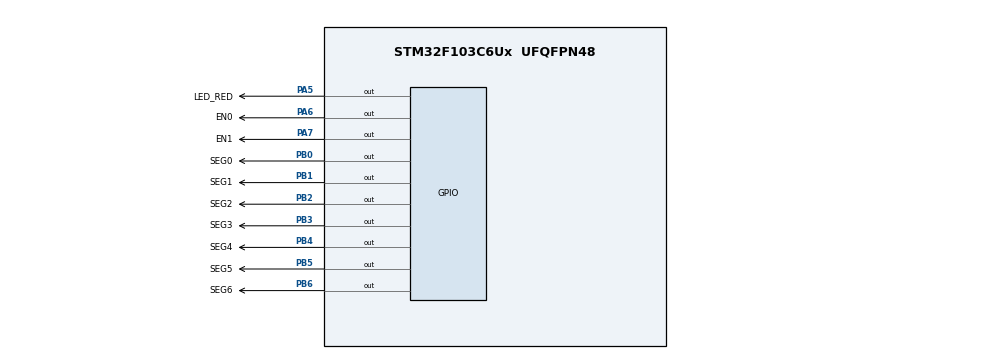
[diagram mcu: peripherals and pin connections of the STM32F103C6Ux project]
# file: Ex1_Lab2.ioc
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Mcu.Family=STM32F1
Mcu.Name=STM32F103C6Ux
Mcu.Package=UFQFPN48
NVIC.PriorityGroup=NVIC_PRIORITYGROUP_4
NVIC.TIM2_IRQn=true\:0\:0\:false\:false\:true\:true\:true\:true
PA5.GPIO_Label=LED_RED
PA5.Signal=GPIO_Output
PA6.GPIO_Label=EN0
PA6.Signal=GPIO_Output
PA7.GPIO_Label=EN1
PA7.Signal=GPIO_Output
PB0.GPIO_Label=SEG0
PB0.Signal=GPIO_Output
PB1.GPIO_Label=SEG1
PB1.Signal=GPIO_Output
PB2.GPIO_Label=SEG2
PB2.Signal=GPIO_Output
PB3.GPIO_Label=SEG3
PB3.Signal=GPIO_Output
PB4.GPIO_Label=SEG4
PB4.Signal=GPIO_Output
PB5.GPIO_Label=SEG5
PB5.Signal=GPIO_Output
PB6.GPIO_Label=SEG6
PB6.Signal=GPIO_Output
ProjectManager.HeapSize=0x200
ProjectManager.StackSize=0x400
ProjectManager.TargetToolchain=STM32CubeIDE
RCC.APB1Freq_Value=8000000
RCC.APB2Freq_Value=8000000
TIM2.Period=9
TIM2.Prescaler=7999
VP_TIM2_VS_ClockSourceINT.Mode=Internal
board=custom

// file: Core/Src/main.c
/* USER CODE BEGIN Header */
/**
  ******************************************************************************
  * @file           : main.c
  * @brief          : Main program body
  ******************************************************************************
  * @attention
  *
  * Copyright (c) 2022 STMicroelectronics.
  * All rights reserved.
  *
  * This software is licensed under terms that can be found in the LICENSE file
  * in the root directory of this software component.
  * If no LICENSE file comes with this software, it is provided AS-IS.
  *
  ******************************************************************************
  */
/* USER CODE END Header */
#include "main.h"

TIM_HandleTypeDef htim2;

void SystemClock_Config(void);
static void MX_GPIO_Init(void);
static void MX_TIM2_Init(void);
/* USER CODE BEGIN PFP */
void display7SEG(int num){
	if(num==0){
		HAL_GPIO_WritePin(SEG0_GPIO_Port,SEG0_Pin,0);
		HAL_GPIO_WritePin(SEG1_GPIO_Port,SEG1_Pin,0);
		HAL_GPIO_WritePin(SEG2_GPIO_Port,SEG2_Pin,0);
		HAL_GPIO_WritePin(SEG3_GPIO_Port,SEG3_Pin,0);
		HAL_GPIO_WritePin(SEG4_GPIO_Port,SEG4_Pin,0);
		HAL_GPIO_WritePin(SEG5_GPIO_Port,SEG5_Pin,0);
		HAL_GPIO_WritePin(SEG6_GPIO_Port,SEG6_Pin,1);
	}
	if(num==1){
		HAL_GPIO_WritePin(SEG0_GPIO_Port,SEG0_Pin,1);
		HAL_GPIO_WritePin(SEG1_GPIO_Port,SEG1_Pin,0);
		HAL_GPIO_WritePin(SEG2_GPIO_Port,SEG2_Pin,0);
		HAL_GPIO_WritePin(SEG3_GPIO_Port,SEG3_Pin,1);
		HAL_GPIO_WritePin(SEG4_GPIO_Port,SEG4_Pin,1);
		HAL_GPIO_WritePin(SEG5_GPIO_Port,SEG5_Pin,1);
		HAL_GPIO_WritePin(SEG6_GPIO_Port,SEG6_Pin,1);
	}
	if(num==2){
		HAL_GPIO_WritePin(SEG0_GPIO_Port,SEG0_Pin,0);
		HAL_GPIO_WritePin(SEG1_GPIO_Port,SEG1_Pin,0);
		HAL_GPIO_WritePin(SEG2_GPIO_Port,SEG2_Pin,1);
		HAL_GPIO_WritePin(SEG3_GPIO_Port,SEG3_Pin,0);
		HAL_GPIO_WritePin(SEG4_GPIO_Port,SEG4_Pin,0);
		HAL_GPIO_WritePin(SEG5_GPIO_Port,SEG5_Pin,1);
		HAL_GPIO_WritePin(SEG6_GPIO_Port,SEG6_Pin,0);
	}
	if(num==3){
		HAL_GPIO_WritePin(SEG0_GPIO_Port,SEG0_Pin,0);
		HAL_GPIO_WritePin(SEG1_GPIO_Port,SEG1_Pin,0);
		HAL_GPIO_WritePin(SEG2_GPIO_Port,SEG2_Pin,0);
		HAL_GPIO_WritePin(SEG3_GPIO_Port,SEG3_Pin,0);
		HAL_GPIO_WritePin(SEG4_GPIO_Port,SEG4_Pin,1);
		HAL_GPIO_WritePin(SEG5_GPIO_Port,SEG5_Pin,1);
		HAL_GPIO_WritePin(SEG6_GPIO_Port,SEG6_Pin,0);
	}
	if(num==4){
		HAL_GPIO_WritePin(SEG0_GPIO_Port,SEG0_Pin,1);
		HAL_GPIO_WritePin(SEG1_GPIO_Port,SEG1_Pin,0);
		HAL_GPIO_WritePin(SEG2_GPIO_Port,SEG2_Pin,0);
		HAL_GPIO_WritePin(SEG3_GPIO_Port,SEG3_Pin,1);
		HAL_GPIO_WritePin(SEG4_GPIO_Port,SEG4_Pin,1);
		HAL_GPIO_WritePin(SEG5_GPIO_Port,SEG5_Pin,0);
		HAL_GPIO_WritePin(SEG6_GPIO_Port,SEG6_Pin,0);
	}
	if(num==5){
		HAL_GPIO_WritePin(SEG0_GPIO_Port,SEG0_Pin,0);
		HAL_GPIO_WritePin(SEG1_GPIO_Port,SEG1_Pin,1);
		HAL_GPIO_WritePin(SEG2_GPIO_Port,SEG2_Pin,0);
		HAL_GPIO_WritePin(SEG3_GPIO_Port,SEG3_Pin,0);
		HAL_GPIO_WritePin(SEG4_GPIO_Port,SEG4_Pin,1);
		HAL_GPIO_WritePin(SEG5_GPIO_Port,SEG5_Pin,0);
		HAL_GPIO_WritePin(SEG6_GPIO_Port,SEG6_Pin,0);
	}
	if(num==6){
		HAL_GPIO_WritePin(SEG0_GPIO_Port,SEG0_Pin,0);
		HAL_GPIO_WritePin(SEG1_GPIO_Port,SEG1_Pin,1);
		HAL_GPIO_WritePin(SEG2_GPIO_Port,SEG2_Pin,0);
		HAL_GPIO_WritePin(SEG3_GPIO_Port,SEG3_Pin,0);
		HAL_GPIO_WritePin(SEG4_GPIO_Port,SEG4_Pin,0);
		HAL_GPIO_WritePin(SEG5_GPIO_Port,SEG5_Pin,0);
		HAL_GPIO_WritePin(SEG6_GPIO_Port,SEG6_Pin,0);
	}
	if(num==7){
		HAL_GPIO_WritePin(SEG0_GPIO_Port,SEG0_Pin,0);
		HAL_GPIO_WritePin(SEG1_GPIO_Port,SEG1_Pin,0);
		HAL_GPIO_WritePin(SEG2_GPIO_Port,SEG2_Pin,0);
		HAL_GPIO_WritePin(SEG3_GPIO_Port,SEG3_Pin,1);
		HAL_GPIO_WritePin(SEG4_GPIO_Port,SEG4_Pin,1);
		HAL_GPIO_WritePin(SEG5_GPIO_Port,SEG5_Pin,1);
		HAL_GPIO_WritePin(SEG6_GPIO_Port,SEG6_Pin,1);
	}
	if(num==8){
		HAL_GPIO_WritePin(SEG0_GPIO_Port,SEG0_Pin,0);
		HAL_GPIO_WritePin(SEG1_GPIO_Port,SEG1_Pin,0);
		HAL_GPIO_WritePin(SEG2_GPIO_Port,SEG2_Pin,0);
		HAL_GPIO_WritePin(SEG3_GPIO_Port,SEG3_Pin,0);
		HAL_GPIO_WritePin(SEG4_GPIO_Port,SEG4_Pin,0);
		HAL_GPIO_WritePin(SEG5_GPIO_Port,SEG5_Pin,0);
		HAL_GPIO_WritePin(SEG6_GPIO_Port,SEG6_Pin,0);
	}
	if(num==9){
		HAL_GPIO_WritePin(SEG0_GPIO_Port,SEG0_Pin,0);
		HAL_GPIO_WritePin(SEG1_GPIO_Port,SEG1_Pin,0);
		HAL_GPIO_WritePin(SEG2_GPIO_Port,SEG2_Pin,0);
		HAL_GPIO_WritePin(SEG3_GPIO_Port,SEG3_Pin,0);
		HAL_GPIO_WritePin(SEG4_GPIO_Port,SEG4_Pin,1);
		HAL_GPIO_WritePin(SEG5_GPIO_Port,SEG5_Pin,0);
		HAL_GPIO_WritePin(SEG6_GPIO_Port,SEG6_Pin,0);
	}
}
/* USER CODE END PFP */

int main(void)
{

  /* MCU Configuration--------------------------------------------------------*/

  /* Reset of all peripherals, Initializes the Flash interface and the Systick. */
  HAL_Init();

  /* Configure the system clock */
  SystemClock_Config();

  /* Initialize all configured peripherals */
  MX_GPIO_Init();
  MX_TIM2_Init();
  /* USER CODE BEGIN 2 */

  // DISABLE ALL LED
  HAL_GPIO_WritePin(EN0_GPIO_Port, EN0_Pin, 1);
  HAL_GPIO_WritePin(EN1_GPIO_Port, EN1_Pin, 1);

  HAL_TIM_Base_Start_IT(&htim2);
  /* USER CODE END 2 */

  /* Infinite loop */
  while (1)
  {

  }
}

void SystemClock_Config(void)
{
  RCC_OscInitTypeDef RCC_OscInitStruct = {0};
  RCC_ClkInitTypeDef RCC_ClkInitStruct = {0};

  /** Initializes the RCC Oscillators according to the specified parameters
  * in the RCC_OscInitTypeDef structure.
  */
  RCC_OscInitStruct.OscillatorType = RCC_OSCILLATORTYPE_HSI;
  RCC_OscInitStruct.HSIState = RCC_HSI_ON;
  RCC_OscInitStruct.HSICalibrationValue = RCC_HSICALIBRATION_DEFAULT;
  RCC_OscInitStruct.PLL.PLLState = RCC_PLL_NONE;
  if (HAL_RCC_OscConfig(&RCC_OscInitStruct) != HAL_OK)
  {
    Error_Handler();
  }

  /** Initializes the CPU, AHB and APB buses clocks
  */
  RCC_ClkInitStruct.ClockType = RCC_CLOCKTYPE_HCLK|RCC_CLOCKTYPE_SYSCLK
                              |RCC_CLOCKTYPE_PCLK1|RCC_CLOCKTYPE_PCLK2;
  RCC_ClkInitStruct.SYSCLKSource = RCC_SYSCLKSOURCE_HSI;
  RCC_ClkInitStruct.AHBCLKDivider = RCC_SYSCLK_DIV1;
  RCC_ClkInitStruct.APB1CLKDivider = RCC_HCLK_DIV1;
  RCC_ClkInitStruct.APB2CLKDivider = RCC_HCLK_DIV1;

  if (HAL_RCC_ClockConfig(&RCC_ClkInitStruct, FLASH_LATENCY_0) != HAL_OK)
  {
    Error_Handler();
  }
}

static void MX_TIM2_Init(void)
{

  TIM_ClockConfigTypeDef sClockSourceConfig = {0};
  TIM_MasterConfigTypeDef sMasterConfig = {0};

  htim2.Instance = TIM2;
  htim2.Init.Prescaler = 7999;
  htim2.Init.CounterMode = TIM_COUNTERMODE_UP;
  htim2.Init.Period = 9;
  htim2.Init.ClockDivision = TIM_CLOCKDIVISION_DIV1;
  htim2.Init.AutoReloadPreload = TIM_AUTORELOAD_PRELOAD_DISABLE;
  if (HAL_TIM_Base_Init(&htim2) != HAL_OK)
  {
    Error_Handler();
  }
  sClockSourceConfig.ClockSource = TIM_CLOCKSOURCE_INTERNAL;
  if (HAL_TIM_ConfigClockSource(&htim2, &sClockSourceConfig) != HAL_OK)
  {
    Error_Handler();
  }
  sMasterConfig.MasterOutputTrigger = TIM_TRGO_RESET;
  sMasterConfig.MasterSlaveMode = TIM_MASTERSLAVEMODE_DISABLE;
  if (HAL_TIMEx_MasterConfigSynchronization(&htim2, &sMasterConfig) != HAL_OK)
  {
    Error_Handler();
  }

}

static void MX_GPIO_Init(void)
{
  GPIO_InitTypeDef GPIO_InitStruct = {0};

  /* GPIO Ports Clock Enable */
  __HAL_RCC_GPIOA_CLK_ENABLE();
  __HAL_RCC_GPIOB_CLK_ENABLE();

  /*Configure GPIO pin Output Level */
  HAL_GPIO_WritePin(GPIOA, LED_RED_Pin|EN0_Pin|EN1_Pin, GPIO_PIN_RESET);

  /*Configure GPIO pin Output Level */
  HAL_GPIO_WritePin(GPIOB, SEG0_Pin|SEG1_Pin|SEG2_Pin|SEG3_Pin
                          |SEG4_Pin|SEG5_Pin|SEG6_Pin, GPIO_PIN_RESET);

  /*Configure GPIO pins : LED_RED_Pin EN0_Pin EN1_Pin */
  GPIO_InitStruct.Pin = LED_RED_Pin|EN0_Pin|EN1_Pin;
  GPIO_InitStruct.Mode = GPIO_MODE_OUTPUT_PP;
  GPIO_InitStruct.Pull = GPIO_NOPULL;
  GPIO_InitStruct.Speed = GPIO_SPEED_FREQ_LOW;
  HAL_GPIO_Init(GPIOA, &GPIO_InitStruct);

  /*Configure GPIO pins : SEG0_Pin SEG1_Pin SEG2_Pin SEG3_Pin
                           SEG4_Pin SEG5_Pin SEG6_Pin */
  GPIO_InitStruct.Pin = SEG0_Pin|SEG1_Pin|SEG2_Pin|SEG3_Pin
                          |SEG4_Pin|SEG5_Pin|SEG6_Pin;
  GPIO_InitStruct.Mode = GPIO_MODE_OUTPUT_PP;
  GPIO_InitStruct.Pull = GPIO_NOPULL;
  GPIO_InitStruct.Speed = GPIO_SPEED_FREQ_LOW;
  HAL_GPIO_Init(GPIOB, &GPIO_InitStruct);

}

/* USER CODE BEGIN 4 */
int counter=50;
int state=0;
void HAL_TIM_PeriodElapsedCallback(TIM_HandleTypeDef*htim){
	counter--;
	if(counter<=0){
		if(state==0){
			HAL_GPIO_WritePin(EN0_GPIO_Port, EN0_Pin, 0);  //Activate led0
			HAL_GPIO_WritePin(EN1_GPIO_Port, EN1_Pin, 1);  //Disable led1
			display7SEG(1);
			state=1;
		}else if(state==1){
			HAL_GPIO_WritePin(EN1_GPIO_Port, EN1_Pin, 0);  //Activate led1
			HAL_GPIO_WritePin(EN0_GPIO_Port, EN0_Pin, 1);  //Disable led0
			display7SEG(2);
			state=0;
		}
		counter=50;
	}
}
/* USER CODE END 4 */

void Error_Handler(void)
{
  __disable_irq();
  while (1)
  {
  }
}
